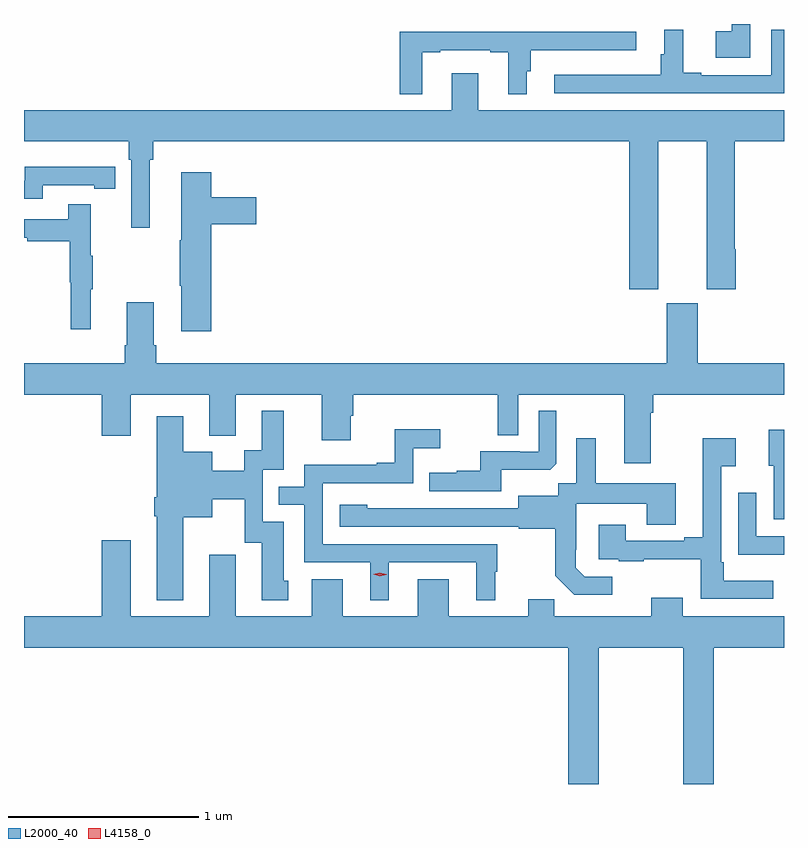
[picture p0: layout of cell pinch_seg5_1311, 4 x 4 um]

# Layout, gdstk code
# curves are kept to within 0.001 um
import gdstk
lib = gdstk.Library(unit=1e-6, precision=1e-09)
def P(c, l, *ps):  # polygons
    for p in ps: c.add(gdstk.Polygon(p, *l))
L2000_40 = (2000, 40)
L4158_0 = (4158, 0)

pinch_seg5_1311 = lib.new_cell('pinch_seg5_1311')
P(pinch_seg5_1311, L2000_40, [(329.727,890.678),(329.631,890.678),(329.631,890.641),(329.547,890.641),(329.547,890.501),(329.727,890.501)],
  [(329.905,890.647),(329.838,890.647),(329.838,890.409),(329.47,890.409),(329.47,890.422),(329.374,890.422),(329.374,890.647),(329.276,890.647),(329.276,890.52),(329.257,890.52),(329.257,890.41),(328.695,890.41),(328.695,890.313),(329.905,890.313)],
  [(328,890.529),(328.096,890.529),(328.096,890.541),(328.358,890.541),(328.358,890.529),(328.454,890.529),(328.454,890.309),(328.552,890.309),(328.552,890.43),(328.571,890.43),(328.571,890.54),(329.128,890.54),(329.128,890.637),(328.428,890.637),(328.428,890.638),(328.16,890.638),(328.16,890.637),(327.883,890.637),(327.883,890.309),(328,890.309)],
  [(329.242,890.06),(329.498,890.06),(329.498,889.281),(329.651,889.281),(329.651,889.493),(329.646,889.493),(329.646,890.06),(329.905,890.06),(329.905,890.224),(328.297,890.224),(328.297,890.419),(328.157,890.419),(328.157,890.224),(325.905,890.224),(325.905,890.06),(326.456,890.06),(326.456,889.964),(326.469,889.964),(326.469,889.605),(326.566,889.605),(326.566,889.964),(326.585,889.964),(326.585,890.06),(329.09,890.06),(329.09,889.281),(329.242,889.281)],
  [(326.004,889.83),(326.276,889.83),(326.276,889.81),(326.384,889.81),(326.384,889.926),(326.276,889.926),(326.276,889.927),(325.908,889.927),(325.908,889.854),(325.905,889.854),(325.905,889.758),(326.004,889.758)],
  [(326.891,889.625),(327.127,889.625),(327.127,889.767),(326.891,889.767),(326.891,889.897),(326.732,889.897),(326.732,889.541),(326.725,889.541),(326.725,889.3),(326.732,889.3),(326.732,889.062),(326.891,889.062)],
  [(326.255,889.283),(326.266,889.283),(326.266,889.457),(326.255,889.457),(326.255,889.729),(326.137,889.729),(326.137,889.65),(325.905,889.65),(325.905,889.554),(325.921,889.554),(325.921,889.534),(326.145,889.534),(326.145,889.32),(326.152,889.32),(326.152,889.071),(326.255,889.071)],
  [(326.467,888.728),(326.879,888.728),(326.879,888.512),(327.019,888.512),(327.019,888.728),(327.473,888.728),(327.473,888.486),(327.625,888.486),(327.625,888.615),(327.638,888.615),(327.638,888.728),(328.398,888.728),(328.398,888.514),(328.506,888.514),(328.506,888.728),(329.063,888.728),(329.063,888.366),(329.203,888.366),(329.203,888.632),(329.216,888.632),(329.216,888.728),(329.905,888.728),(329.905,888.892),(329.452,888.892),(329.452,889.209),(329.288,889.209),(329.288,888.892),(326.6,888.892),(326.6,888.988),(326.587,888.988),(326.587,889.213),(326.447,889.213),(326.447,888.988),(326.435,888.988),(326.435,888.892),(325.905,888.892),(325.905,888.728),(326.315,888.728),(326.315,888.51),(326.467,888.51)],
  [(326.743,888.083),(326.896,888.083),(326.896,888.176),(327.066,888.176),(327.066,887.949),(327.155,887.949),(327.155,887.646),(327.295,887.646),(327.295,887.748),(327.271,887.748),(327.271,888.057),(327.162,888.057),(327.162,888.333),(327.271,888.333),(327.271,888.643),(327.155,888.643),(327.155,888.434),(327.065,888.434),(327.065,888.328),(326.896,888.328),(326.896,888.427),(326.743,888.427),(326.743,888.613),(326.603,888.613),(326.603,888.187),(326.591,888.187),(326.591,888.087),(326.603,888.087),(326.603,887.645),(326.743,887.645)],
  [(328.417,888.332),(328.675,888.332),(328.707,888.363),(328.707,888.643),(328.614,888.643),(328.614,888.426),(328.514,888.426),(328.514,888.429),(328.307,888.429),(328.307,888.328),(328.183,888.328),(328.183,888.316),(328.039,888.316),(328.039,888.219),(328.417,888.219)],
  [(327.826,887.844),(328.286,887.844),(328.286,887.645),(328.384,887.645),(328.384,887.796),(328.396,887.796),(328.396,887.94),(327.477,887.94),(327.477,888.261),(327.954,888.261),(327.954,888.446),(328.096,888.446),(328.096,888.545),(327.856,888.545),(327.856,888.37),(327.761,888.37),(327.761,888.357),(327.381,888.357),(327.381,888.243),(327.247,888.243),(327.247,888.147),(327.381,888.147),(327.381,887.844),(327.728,887.844),(327.728,887.645),(327.826,887.645)],
  [(329.905,888.542),(329.825,888.542),(329.825,888.354),(329.85,888.354),(329.85,888.072),(329.905,888.072)],
  [(329.002,887.769),(328.857,887.769),(328.81,887.816),(328.81,887.911),(328.812,887.911),(328.812,888.152),(329.183,888.152),(329.183,888.043),(329.335,888.043),(329.335,888.262),(328.915,888.262),(328.915,888.499),(328.811,888.499),(328.811,888.26),(328.716,888.26),(328.716,888.196),(328.505,888.196),(328.505,888.129),(327.711,888.13),(327.711,888.148),(327.567,888.148),(327.567,888.033),(328.509,888.033),(328.509,888.021),(328.701,888.021),(328.701,887.775),(328.801,887.675),(329.002,887.675)],
  [(329.848,887.749),(329.587,887.749),(329.587,887.845),(329.574,887.845),(329.574,888.35),(329.65,888.35),(329.65,888.499),(329.477,888.499),(329.477,887.977),(329.381,887.977),(329.381,887.958),(329.071,887.958),(329.071,888.043),(328.931,888.043),(328.931,887.862),(329.035,887.862),(329.035,887.85),(329.167,887.85),(329.167,887.861),(329.466,887.861),(329.466,887.652),(329.848,887.652)],
  [(329.905,887.982),(329.76,887.982),(329.76,888.211),(329.664,888.211),(329.664,887.885),(329.905,887.885)],
  [(328.929,887.396),(329.374,887.396),(329.374,886.678),(329.534,886.678),(329.534,887.396),(329.905,887.396),(329.905,887.56),(329.371,887.56),(329.371,887.659),(329.207,887.659),(329.207,887.56),(328.697,887.56),(328.697,887.651),(328.559,887.651),(328.559,887.56),(328.141,887.56),(328.141,887.755),(327.977,887.755),(327.977,887.56),(327.583,887.56),(327.583,887.755),(327.419,887.755),(327.419,887.56),(327.019,887.56),(327.019,887.884),(326.879,887.884),(326.879,887.56),(326.467,887.56),(326.467,887.962),(326.315,887.962),(326.315,887.56),(325.905,887.56),(325.905,887.396),(328.769,887.396),(328.769,886.678),(328.929,886.678)])
P(pinch_seg5_1311, L4158_0, [(327.777,887.771),(327.742,887.782),(327.741,887.782),(327.742,887.782),(327.777,887.791),(327.812,887.781),(327.813,887.781),(327.812,887.78)])

lib.write_gds('pinch_seg5_1311.gds')
